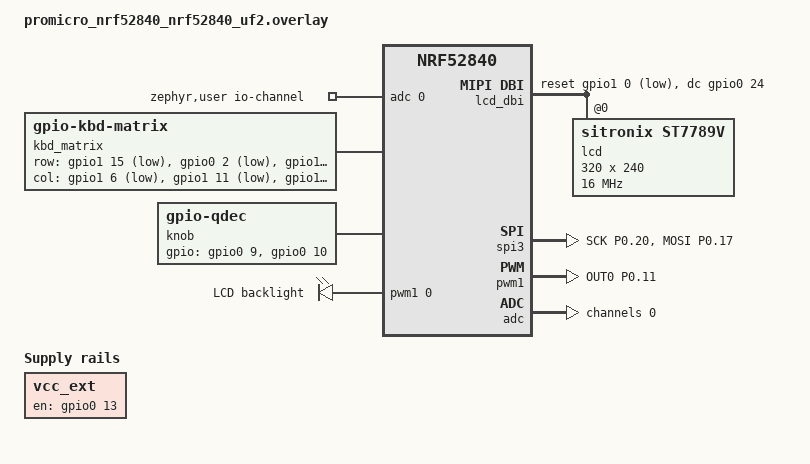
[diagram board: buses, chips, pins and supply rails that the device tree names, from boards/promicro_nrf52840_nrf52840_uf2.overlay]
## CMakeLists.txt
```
# SPDX-License-Identifier: Apache-2.0

cmake_minimum_required(VERSION 3.20.0)
find_package(Zephyr REQUIRED HINTS $ENV{ZEPHYR_BASE})
project(Macropad)

# Same USB helper as the trackball: sample_usbd_init_device() and CONFIG_SAMPLE_USBD_*
include(${ZEPHYR_BASE}/samples/subsys/usb/common/common.cmake)
FILE(GLOB app_sources CONFIGURE_DEPENDS src/*.c)
target_sources(app PRIVATE ${app_sources})
```

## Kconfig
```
# SPDX-License-Identifier: Apache-2.0

# USB device helper options (CONFIG_SAMPLE_USBD_*), shared with the trackball
source "samples/subsys/usb/common/Kconfig.sample_usbd"

menu "Macropad"

config MACROPAD_KEY_ROWS
	int "Rows of keys"
	default 3
	range 1 4
	help
	  Rows of MX keys on the case. Row 0 is the back row, next to the screen.
	  Concept A 3, B 3, C 4.

config MACROPAD_KEY_COLS
	int "Columns of keys"
	default 4
	range 1 4
	help
	  Columns of MX keys. Concept A 3, B 4, C 4. Key n (row * cols + col)
	  arrives as input code INPUT_KEY_F13 + n; the knob push is always
	  key 16 (INPUT_KEY_F13 + 16).

config MACROPAD_UI_INSET
	int "Screen margin in pixels"
	default 0
	help
	  Empty border around the tile grid. Use about 34 on the round GC9A01
	  (concept C) so the corner tiles stay inside the circle.

config MACROPAD_SCREEN_TIMEOUT_S
	int "Screen off after this many seconds without input"
	default 60
	help
	  The backlight is the biggest battery drain. Any key or knob turn wakes
	  the screen. 0 keeps it on.

config MACROPAD_BACKLIGHT_PERCENT
	int "Backlight brightness (percent)"
	default 70
	range 1 100

config MACROPAD_BATTERY_OFFSET_MV
	int "Battery reading correction (mV)"
	default 0
	range -500 500
	help
	  Added to every battery reading. The SuperMini measures the LiPo on
	  its VDDH pin, which can sit a little below the cell itself. Compare
	  the "Battery ... mV" log line with a multimeter across the LiPo
	  (unplugged from USB) and put the difference here.

endmenu

source "Kconfig.zephyr"
```

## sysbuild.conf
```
# Use the devicetree flash partitions instead of NCS's (deprecated) Partition
# Manager. On the Pro Micro this keeps the app at 0x26000, after the SoftDevice
# area the UF2 bootloader expects; on the DK it uses the DK's storage partition.
SB_CONFIG_PARTITION_MANAGER=n
```

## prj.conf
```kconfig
# Macropad firmware: keys + knob -> USB HID and Bluetooth HID, LVGL tiles on an SPI LCD.
# Board-specific settings are in boards/<board>.conf.

# ---- Logging ----
CONFIG_LOG=y
CONFIG_LOG_MODE_DEFERRED=y
CONFIG_USBD_LOG_LEVEL_WRN=y
CONFIG_USBD_HID_LOG_LEVEL_WRN=y
CONFIG_UDC_DRIVER_LOG_LEVEL_WRN=y

# ---- USB HID (device_next stack, same helper as the trackball) ----
CONFIG_USB_DEVICE_STACK_NEXT=y
CONFIG_CDC_ACM_SERIAL_INITIALIZE_AT_BOOT=n
CONFIG_USBD_HID_SUPPORT=y
CONFIG_SAMPLE_USBD_PRODUCT="Macropad"
CONFIG_SAMPLE_USBD_MANUFACTURER="Jase"
# 0x0007 is the trackball, so the PC keeps the two apart
CONFIG_SAMPLE_USBD_PID=0x0008
# Bus-powered from the PC's point of view (the LiPo is our own business)
CONFIG_SAMPLE_USBD_SELF_POWERED=n
# A macro key can wake a sleeping PC
CONFIG_SAMPLE_USBD_REMOTE_WAKEUP=y
CONFIG_UDC_BUF_POOL_SIZE=4096

# ---- Inputs: key matrix / buttons, knob (gpio-qdec), keymap ----
CONFIG_GPIO=y
CONFIG_INPUT=y

# ---- Display + LVGL ----
CONFIG_DISPLAY=y
CONFIG_DISPLAY_LOG_LEVEL_ERR=y
CONFIG_LVGL=y
CONFIG_LV_Z_MEM_POOL_SIZE=24576
# Draw buffer = 16 % of the screen (320 x 240 x 2 bytes x 0.16 = 24.6 KB). LVGL
# renders in strips, so a full-screen buffer (150 KB) is not needed.
CONFIG_LV_Z_VDB_SIZE=16
CONFIG_LV_Z_BITS_PER_PIXEL=16
CONFIG_LV_COLOR_DEPTH_16=y
# The panel wants RGB565 big-endian on the wire; LVGL draws little-endian
CONFIG_LV_COLOR_16_SWAP=y
CONFIG_LV_USE_LABEL=y
CONFIG_LV_FONT_MONTSERRAT_12=y
CONFIG_LV_FONT_MONTSERRAT_16=y
CONFIG_LV_USE_LOG=y
CONFIG_LV_LOG_LEVEL_WARN=y
CONFIG_MAIN_STACK_SIZE=3072

# Backlight brightness through a PWM "LED"
CONFIG_LED=y
CONFIG_PWM=y

# ---- Bluetooth HID (NCS HIDS service), same set-up as the trackball ----
CONFIG_BT=y
CONFIG_BT_PERIPHERAL=y
CONFIG_BT_DEVICE_NAME="Macropad"
# 961 = HID keyboard
CONFIG_BT_DEVICE_APPEARANCE=961
CONFIG_BT_MAX_CONN=1
CONFIG_BT_MAX_PAIRED=4
CONFIG_BT_SMP=y
CONFIG_BT_CONN_CTX=y
CONFIG_BT_HIDS=y
CONFIG_BT_HIDS_MAX_CLIENT_COUNT=1
CONFIG_BT_HIDS_INPUT_REP_MAX=2
CONFIG_BT_HIDS_OUTPUT_REP_MAX=0
CONFIG_BT_HIDS_FEATURE_REP_MAX=0
CONFIG_BT_HIDS_DEFAULT_PERM_RW_ENCRYPT=y
CONFIG_BT_BAS=y
CONFIG_BT_DIS=y
CONFIG_BT_DIS_PNP=y
CONFIG_BT_DIS_PNP_VID_SRC=2
CONFIG_BT_DIS_PNP_VID=0x2FE3
CONFIG_BT_DIS_PNP_PID=0x0008
CONFIG_BT_GATT_UUID16_POOL_SIZE=40
CONFIG_BT_GATT_CHRC_POOL_SIZE=20
CONFIG_BT_ATT_TX_COUNT=5
# Same laptop-collision workaround as the NCS keyboard sample
CONFIG_BT_GATT_AUTO_SEC_REQ=n
CONFIG_BT_AUTO_PHY_UPDATE=n

# ---- Bonds survive a reset (settings in the storage partition) ----
CONFIG_BT_SETTINGS=y
CONFIG_SETTINGS=y
CONFIG_FLASH=y
CONFIG_FLASH_PAGE_LAYOUT=y
CONFIG_FLASH_MAP=y
CONFIG_NVS=y

CONFIG_SYSTEM_WORKQUEUE_STACK_SIZE=2048
```

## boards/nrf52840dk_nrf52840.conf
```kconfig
# Logs on the DK's J-Link serial port (UART0) and RTT, like the trackball
CONFIG_USE_SEGGER_RTT=y
CONFIG_LOG_BACKEND_RTT=y
CONFIG_SEGGER_RTT_BUFFER_SIZE_UP=4096
```

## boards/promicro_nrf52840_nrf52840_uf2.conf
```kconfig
# Powers the LCD: P0.13 switches the VCC pin's regulator (vcc_ext in the overlay)
CONFIG_REGULATOR=y

# Logs on a USB serial port next to the HID keyboard (the board's board_cdc_acm_uart).
# sample_usbd registers it and makes the device composite. Open the COM port at any baud.
CONFIG_USBD_CDC_ACM_CLASS=y
CONFIG_SERIAL=y
CONFIG_CONSOLE=y
CONFIG_UART_CONSOLE=y
CONFIG_UART_LINE_CTRL=y
CONFIG_LOG_BACKEND_UART=y

# Battery voltage through the SAADC (VDDH / 5)
CONFIG_ADC=y

# sys_reboot() for the "restart into the UF2 bootloader" key combo (HID_Engine.c)
CONFIG_REBOOT=y

# 32 kHz clock from the chip's own RC oscillator instead of the board's crystal.
# Some SuperMini batches have a faulty 32.768 kHz crystal, which shows up as
# Bluetooth that never connects or drops out. The RC oscillator is recalibrated
# every few seconds and is accurate enough for Bluetooth (500 ppm), at the cost
# of a few uA. To try the crystal, delete this line.
CONFIG_CLOCK_CONTROL_NRF_K32SRC_RC=y
```

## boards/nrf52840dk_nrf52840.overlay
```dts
/*
 * nRF52840 DK breadboard set-up for the macropad (concept B screen).
 *
 * Wiring (DK Arduino header names):
 *   2.0" Waveshare ST7789 LCD   VCC -> VDD, GND -> GND, DIN -> D11 (P1.13), CLK -> D13 (P1.15),
 *                               CS -> D10 (P1.12), DC -> D9 (P1.11), RST -> D8 (P1.10), BL -> D7 (P1.08)
 *   EC11 knob                   A -> D2 (P1.04), B -> D3 (P1.05), C -> GND,
 *                               push switch -> D4 (P1.06) and GND
 *   Keys                        DK buttons 1-4 act as the first four keys (back row)
 *
 * Key numbering: key n reaches the app as INPUT_KEY_F13 + n (knob push = key 16). The F13
 * name is only an ID inside the firmware; what the PC receives comes from src/Keymap.c.
 */

#include <zephyr/dt-bindings/mipi_dbi/mipi_dbi.h>
#include <zephyr/dt-bindings/input/input-event-codes.h>

/ {
	chosen {
		zephyr,display = &lcd;
	};

	aliases {
		backlight = &lcd_backlight;
	};

	hid_dev_0: hid_dev_0 {
		compatible = "zephyr,hid-device";
		label = "HID0";
		protocol-code = "none";
		in-polling-period-us = <1000>;
		in-report-size = <16>;
	};

	knob: knob {
		compatible = "gpio-qdec";
		gpios = <&gpio1 4 (GPIO_PULL_UP | GPIO_ACTIVE_HIGH)>,
			<&gpio1 5 (GPIO_PULL_UP | GPIO_ACTIVE_HIGH)>;
		/* EC11: 4 quadrature edges per detent, so one event per click */
		steps-per-period = <4>;
		zephyr,axis = <INPUT_REL_WHEEL>;
		sample-time-us = <1000>;
		idle-timeout-ms = <200>;
	};

	knob_keys {
		compatible = "gpio-keys";

		knob_push: knob_push {
			gpios = <&gpio1 6 (GPIO_PULL_UP | GPIO_ACTIVE_LOW)>;
			label = "Knob push";
			/* the knob push is key 16 on every concept */
			zephyr,code = <(INPUT_KEY_F13 + 16)>;
		};
	};

	backlight_pwm {
		compatible = "pwm-leds";

		lcd_backlight: lcd_backlight {
			pwms = <&pwm1 0 PWM_MSEC(1) PWM_POLARITY_NORMAL>;
			label = "LCD backlight";
		};
	};

	lcd_dbi: lcd_mipi_dbi {
		compatible = "zephyr,mipi-dbi-spi";
		spi-dev = <&arduino_spi>;
		dc-gpios = <&gpio1 11 GPIO_ACTIVE_HIGH>;
		reset-gpios = <&gpio1 10 GPIO_ACTIVE_LOW>;
		write-only;
		#address-cells = <1>;
		#size-cells = <0>;

		/* Waveshare 2inch LCD Module (ST7789V, 240 x 320), used landscape.
		 * Init values from Waveshare's demo code. If the picture is mirrored or
		 * upside down, change mdac: 0x70 / 0xa0 / 0x60 / 0xc0 are the four
		 * landscape options. */
		lcd: st7789v@0 {
			compatible = "sitronix,st7789v";
			reg = <0>;
			/* Jumper wires: keep the clock modest */
			mipi-max-frequency = <8000000>;
			mipi-mode = "MIPI_DBI_MODE_SPI_4WIRE";
			width = <320>;
			height = <240>;
			x-offset = <0>;
			y-offset = <0>;
			vcom = <0x1f>;
			gctrl = <0x35>;
			vrhs = <0x12>;
			vdvs = <0x20>;
			mdac = <0x70>;
			gamma = <0x01>;
			colmod = <0x05>;
			lcm = <0x2c>;
			porch-param = [0c 0c 00 33 33];
			cmd2en-param = [5a 69 02 01];
			pwctrl1-param = [a4 a1];
			pvgam-param = [d0 08 11 08 0c 15 39 33 50 36 13 14 29 2d];
			nvgam-param = [d0 08 10 08 06 06 39 44 51 0b 16 14 2f 31];
			ram-param = [00 f0];
			rgb-param = [cd 08 14];
		};
	};
};

&button0 {
	zephyr,code = <INPUT_KEY_F13>;
};

&button1 {
	zephyr,code = <(INPUT_KEY_F13 + 1)>;
};

&button2 {
	zephyr,code = <(INPUT_KEY_F13 + 2)>;
};

&button3 {
	zephyr,code = <(INPUT_KEY_F13 + 3)>;
};

&pwm1 {
	status = "okay";
	pinctrl-0 = <&lcd_bl_pwm_default>;
	pinctrl-1 = <&lcd_bl_pwm_sleep>;
	pinctrl-names = "default", "sleep";
};

&pinctrl {
	lcd_bl_pwm_default: lcd_bl_pwm_default {
		group1 {
			psels = <NRF_PSEL(PWM_OUT0, 1, 8)>;
		};
	};

	lcd_bl_pwm_sleep: lcd_bl_pwm_sleep {
		group1 {
			psels = <NRF_PSEL(PWM_OUT0, 1, 8)>;
			low-power-enable;
		};
	};
};
```

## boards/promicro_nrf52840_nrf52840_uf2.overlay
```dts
/*
 * Macropad concept B on a Pro Micro-size nRF52840 (nice!nano v2 / SuperMini clone).
 * Board: promicro_nrf52840/nrf52840/uf2 (Adafruit UF2 bootloader, app at 0x26000).
 *
 * Pin map (nRF pin, Pro Micro label, footprint pin), the same as pcb/board/design_b.py.
 * The SPI clock and data use full-speed pins; everything slow (matrix, knob) uses the
 * pins Nordic marks "low frequency I/O only". Footprint pins 5-10 carry the LCD's six
 * signals in the order of the Waveshare cable (DIN, CLK, CS, DC, RST, BL), so on the
 * PCB they run straight across to J2 pins 3-8.
 *
 *   LCD MOSI  P0.17  D2   5     ROW0  P1.15  D18  17     COL0  P1.06  D9   12
 *   LCD SCK   P0.20  D3   6     ROW1  P0.02  D19  18     COL1  P1.11  D14  15
 *   LCD CS    P0.22  D4   7     ROW2  P1.04  D8   11     COL2  P1.13  D15  16
 *   LCD DC    P0.24  D5   8     (ROW3 P0.08  D0   2, concept C only)
 *   LCD RST   P1.00  D6   9                               COL3  P0.29  D20  19
 *   LCD BL    P0.11  D7   10    KNOB A P0.09 D10  13      COL4  P0.31  D21  20
 *   (debug TX P0.06  D1   1)    KNOB B P0.10 D16  14
 *
 * The knob sits on the two NFC pins: both rest high (pull-ups, open contacts at a
 * detent), so the small leak NFC pins have when held at different levels never flows.
 *
 * Matrix: rows are inputs with pull-ups, columns are driven low one at a time. Each
 * switch has a 1N4148 from the row side (anode) to the column (cathode).
 */

#include <zephyr/dt-bindings/mipi_dbi/mipi_dbi.h>
#include <zephyr/dt-bindings/input/input-event-codes.h>
#include <zephyr/dt-bindings/input/keymap.h>
#include <zephyr/dt-bindings/adc/adc.h>
#include <zephyr/dt-bindings/adc/nrf-saadc.h>

/ {
	chosen {
		zephyr,display = &lcd;
	};

	aliases {
		backlight = &lcd_backlight;
	};

	/* Battery: the LiPo feeds VDDH, measured as VDDH / 5 (src/Battery.c) */
	zephyr,user {
		io-channels = <&adc 0>;
	};

	/* SuperMini / nice!nano: P0.13 enables the regulator behind the VCC pin, which
	 * powers the LCD module. It is off until firmware drives P0.13 high. */
	vcc_ext: vcc_ext {
		compatible = "regulator-fixed";
		regulator-name = "vcc_ext";
		enable-gpios = <&gpio0 13 GPIO_ACTIVE_HIGH>;
		startup-delay-us = <10000>;
		regulator-boot-on;
	};

	hid_dev_0: hid_dev_0 {
		compatible = "zephyr,hid-device";
		label = "HID0";
		protocol-code = "none";
		in-polling-period-us = <1000>;
		in-report-size = <16>;
	};

	kbd_matrix: kbd_matrix {
		compatible = "gpio-kbd-matrix";
		row-gpios = <&gpio1 15 (GPIO_PULL_UP | GPIO_ACTIVE_LOW)>,
			    <&gpio0 2 (GPIO_PULL_UP | GPIO_ACTIVE_LOW)>,
			    <&gpio1 4 (GPIO_PULL_UP | GPIO_ACTIVE_LOW)>;
		col-gpios = <&gpio1 6 GPIO_ACTIVE_LOW>,
			    <&gpio1 11 GPIO_ACTIVE_LOW>,
			    <&gpio1 13 GPIO_ACTIVE_LOW>,
			    <&gpio0 29 GPIO_ACTIVE_LOW>,
			    <&gpio0 31 GPIO_ACTIVE_LOW>;
		/* Every switch has its own diode, so any combination of keys reads correctly */
		no-ghostkey-check;

		kbd_keymap: keymap {
			compatible = "input-keymap";
			row-size = <3>;
			col-size = <5>;
			/* key n = INPUT_KEY_F13 + n, n = row * 4 + col; the knob push is
			 * wired into row 0, column 4 and is always key 16 */
			keymap = <MATRIX_KEY(0, 0, INPUT_KEY_F13)
				  MATRIX_KEY(0, 1, (INPUT_KEY_F13 + 1))
				  MATRIX_KEY(0, 2, (INPUT_KEY_F13 + 2))
				  MATRIX_KEY(0, 3, (INPUT_KEY_F13 + 3))
				  MATRIX_KEY(1, 0, (INPUT_KEY_F13 + 4))
				  MATRIX_KEY(1, 1, (INPUT_KEY_F13 + 5))
				  MATRIX_KEY(1, 2, (INPUT_KEY_F13 + 6))
				  MATRIX_KEY(1, 3, (INPUT_KEY_F13 + 7))
				  MATRIX_KEY(2, 0, (INPUT_KEY_F13 + 8))
				  MATRIX_KEY(2, 1, (INPUT_KEY_F13 + 9))
				  MATRIX_KEY(2, 2, (INPUT_KEY_F13 + 10))
				  MATRIX_KEY(2, 3, (INPUT_KEY_F13 + 11))
				  MATRIX_KEY(0, 4, (INPUT_KEY_F13 + 16))>;
		};
	};

	knob: knob {
		compatible = "gpio-qdec";
		gpios = <&gpio0 9 (GPIO_PULL_UP | GPIO_ACTIVE_HIGH)>,
			<&gpio0 10 (GPIO_PULL_UP | GPIO_ACTIVE_HIGH)>;
		steps-per-period = <4>;
		zephyr,axis = <INPUT_REL_WHEEL>;
		sample-time-us = <1000>;
		idle-timeout-ms = <200>;
	};

	backlight_pwm {
		compatible = "pwm-leds";

		lcd_backlight: lcd_backlight {
			pwms = <&pwm1 0 PWM_MSEC(1) PWM_POLARITY_NORMAL>;
			label = "LCD backlight";
		};
	};

	lcd_dbi: lcd_mipi_dbi {
		compatible = "zephyr,mipi-dbi-spi";
		spi-dev = <&spi3>;
		dc-gpios = <&gpio0 24 GPIO_ACTIVE_HIGH>;
		reset-gpios = <&gpio1 0 GPIO_ACTIVE_LOW>;
		write-only;
		#address-cells = <1>;
		#size-cells = <0>;

		/* Waveshare 2inch LCD Module (ST7789V, 240 x 320), used landscape.
		 * See the DK overlay for the mdac note. */
		lcd: st7789v@0 {
			compatible = "sitronix,st7789v";
			reg = <0>;
			mipi-max-frequency = <16000000>;
			mipi-mode = "MIPI_DBI_MODE_SPI_4WIRE";
			width = <320>;
			height = <240>;
			x-offset = <0>;
			y-offset = <0>;
			vcom = <0x1f>;
			gctrl = <0x35>;
			vrhs = <0x12>;
			vdvs = <0x20>;
			mdac = <0x70>;
			gamma = <0x01>;
			colmod = <0x05>;
			lcm = <0x2c>;
			porch-param = [0c 0c 00 33 33];
			cmd2en-param = [5a 69 02 01];
			pwctrl1-param = [a4 a1];
			pvgam-param = [d0 08 11 08 0c 15 39 33 50 36 13 14 29 2d];
			nvgam-param = [d0 08 10 08 06 06 39 44 51 0b 16 14 2f 31];
			ram-param = [00 f0];
			rgb-param = [cd 08 14];
		};
	};
};

/* SPIM3 is the only nRF52840 SPI master that goes above 8 MHz */
&spi3 {
	compatible = "nordic,nrf-spim";
	status = "okay";
	cs-gpios = <&gpio0 22 GPIO_ACTIVE_LOW>;
	pinctrl-0 = <&lcd_spi_default>;
	pinctrl-1 = <&lcd_spi_sleep>;
	pinctrl-names = "default", "sleep";
};

&pwm1 {
	status = "okay";
	pinctrl-0 = <&lcd_bl_pwm_default>;
	pinctrl-1 = <&lcd_bl_pwm_sleep>;
	pinctrl-names = "default", "sleep";
};

&adc {
	#address-cells = <1>;
	#size-cells = <0>;

	channel@0 {
		reg = <0>;
		zephyr,gain = "ADC_GAIN_1_2";
		zephyr,reference = "ADC_REF_INTERNAL";
		zephyr,acquisition-time = <ADC_ACQ_TIME_DEFAULT>;
		zephyr,input-positive = <NRF_SAADC_VDDHDIV5>;
		zephyr,resolution = <12>;
	};
};

/* The board file enables these on pins we use for the matrix and the knob */
&i2c0 {
	status = "disabled";
};

&i2c1 {
	status = "disabled";
};

&spi2 {
	status = "disabled";
};

/* Logs go to the USB serial port (board_cdc_acm_uart) instead */
&uart0 {
	status = "disabled";
};

&pinctrl {
	lcd_spi_default: lcd_spi_default {
		group1 {
			psels = <NRF_PSEL(SPIM_SCK, 0, 20)>,
				<NRF_PSEL(SPIM_MOSI, 0, 17)>;
			nordic,drive-mode = <NRF_DRIVE_H0H1>;
		};
	};

	lcd_spi_sleep: lcd_spi_sleep {
		group1 {
			psels = <NRF_PSEL(SPIM_SCK, 0, 20)>,
				<NRF_PSEL(SPIM_MOSI, 0, 17)>;
			low-power-enable;
		};
	};

	lcd_bl_pwm_default: lcd_bl_pwm_default {
		group1 {
			psels = <NRF_PSEL(PWM_OUT0, 0, 11)>;
		};
	};

	lcd_bl_pwm_sleep: lcd_bl_pwm_sleep {
		group1 {
			psels = <NRF_PSEL(PWM_OUT0, 0, 11)>;
			low-power-enable;
		};
	};
};
```

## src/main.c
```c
#include <zephyr/kernel.h>
#include <zephyr/logging/log.h>

#include "BT.h"
#include "Battery.h"
#include "Display_UI.h"
#include "HID_Engine.h"
#include "Keymap.h"
#include "USB_Link.h"

LOG_MODULE_REGISTER(main, LOG_LEVEL_INF);

int main(void)
{
	int ret;

	LOG_INF("Macropad: %d x %d keys + knob", KEY_ROWS, KEY_COLS);

	/* Screen first, so link and battery messages from the others land on it */
	ret = display_ui_init();
	if (ret != 0) {
		LOG_WRN("No screen, carrying on without it (%d)", ret);
	}

	/* Either link on its own is enough to be useful, so neither is fatal */
	ret = bt_init();
	if (ret != 0) {
		LOG_ERR("Bluetooth failed to start (%d), USB only", ret);
	}

	ret = usb_link_init();
	if (ret != 0) {
		LOG_ERR("USB failed to start (%d), Bluetooth only", ret);
	}

	ret = battery_init();
	if (ret != 0 && ret != -ENOTSUP) {
		LOG_WRN("Battery reading unavailable (%d)", ret);
	}

	hid_engine_run();   /* never returns */
	return 0;
}
```

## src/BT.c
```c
/*
 * Copyright (c) 2018 Nordic Semiconductor ASA
 *
 * SPDX-License-Identifier: LicenseRef-Nordic-5-Clause
 */

/*
 * Bluetooth LE HID keyboard + consumer control, built on the NCS HIDS service.
 * Based on the NCS peripheral_hids_keyboard sample, cut down to one host at a
 * time and Just Works pairing.
 */

#include "BT.h"

#include <errno.h>

#include <zephyr/bluetooth/bluetooth.h>
#include <zephyr/bluetooth/conn.h>
#include <zephyr/bluetooth/gatt.h>
#include <zephyr/bluetooth/hci.h>
#include <zephyr/bluetooth/services/bas.h>
#include <zephyr/bluetooth/uuid.h>
#include <zephyr/kernel.h>
#include <zephyr/logging/log.h>
#include <zephyr/settings/settings.h>

#include <bluetooth/services/hids.h>

#include "HID_Engine.h"

LOG_MODULE_REGISTER(bt_hid, LOG_LEVEL_INF);

/* CONSTANTS */
#define DEVICE_NAME     CONFIG_BT_DEVICE_NAME
#define DEVICE_NAME_LEN (sizeof(DEVICE_NAME) - 1)

#define BASE_USB_HID_SPEC_VERSION 0x0101

/* Advertise fast for a short while (quick to find when pairing), then slowly
 * to save battery while nobody is connecting. */
#define ADV_FAST_TIME K_SECONDS(30)

/* Per-connection storage for every report we declare: keyboard + consumer */
BT_HIDS_DEF(hids_obj, KEYBOARD_REPORT_LEN, CONSUMER_REPORT_LEN);

static const struct bt_data ad[] = {
	BT_DATA_BYTES(BT_DATA_GAP_APPEARANCE,
		      (CONFIG_BT_DEVICE_APPEARANCE >> 0) & 0xff,
		      (CONFIG_BT_DEVICE_APPEARANCE >> 8) & 0xff),
	BT_DATA_BYTES(BT_DATA_FLAGS, (BT_LE_AD_GENERAL | BT_LE_AD_NO_BREDR)),
	BT_DATA_BYTES(BT_DATA_UUID16_ALL, BT_UUID_16_ENCODE(BT_UUID_HIDS_VAL),
		      BT_UUID_16_ENCODE(BT_UUID_BAS_VAL)),
};

static const struct bt_data sd[] = {
	BT_DATA(BT_DATA_NAME_COMPLETE, DEVICE_NAME, DEVICE_NAME_LEN),
};

/* TYPES */
static struct bt_conn *host_conn;
static atomic_t advertising;
static bool adv_slow;

static void adv_work_handler(struct k_work *work);
static K_WORK_DEFINE(adv_work, adv_work_handler);
static void adv_slow_handler(struct k_work *work);
static K_WORK_DELAYABLE_DEFINE(adv_slow_work, adv_slow_handler);

static void advertising_start(bool slow)
{
	int err;
	const struct bt_le_adv_param *param = slow ?
		BT_LE_ADV_PARAM(BT_LE_ADV_OPT_CONN, BT_GAP_ADV_SLOW_INT_MIN,
				BT_GAP_ADV_SLOW_INT_MAX, NULL) :
		BT_LE_ADV_PARAM(BT_LE_ADV_OPT_CONN, BT_GAP_ADV_FAST_INT_MIN_2,
				BT_GAP_ADV_FAST_INT_MAX_2, NULL);

	err = bt_le_adv_start(param, ad, ARRAY_SIZE(ad), sd, ARRAY_SIZE(sd));
	if (err == -EALREADY) {
		return;
	}

	if (err != 0) {
		LOG_ERR("Advertising failed to start (err %d)", err);
		return;
	}

	atomic_set(&advertising, 1);
	adv_slow = slow;
	LOG_INF("Advertising (%s) as \"%s\"", slow ? "slow" : "fast", DEVICE_NAME);
	if (!slow) {
		k_work_reschedule(&adv_slow_work, ADV_FAST_TIME);
	}
	hid_engine_link_changed();
}

static void adv_work_handler(struct k_work *work)
{
	ARG_UNUSED(work);
	advertising_start(false);
}

static void adv_slow_handler(struct k_work *work)
{
	ARG_UNUSED(work);

	if (!atomic_get(&advertising) || adv_slow) {
		return;
	}

	(void)bt_le_adv_stop();
	advertising_start(true);
}

static void connected(struct bt_conn *conn, uint8_t err)
{
	char addr[BT_ADDR_LE_STR_LEN];

	bt_addr_le_to_str(bt_conn_get_dst(conn), addr, sizeof(addr));

	if (err != 0) {
		LOG_WRN("Failed to connect to %s, 0x%02x %s", addr, err, bt_hci_err_to_str(err));
		return;
	}

	LOG_INF("Connected %s", addr);

	/* Connectable advertising stops by itself once a host connects */
	atomic_set(&advertising, 0);
	k_work_cancel_delayable(&adv_slow_work);

	if (bt_hids_connected(&hids_obj, conn) != 0) {
		LOG_ERR("Failed to notify HIDS about the connection");
	}

	host_conn = bt_conn_ref(conn);
	hid_engine_link_changed();
}

static void disconnected(struct bt_conn *conn, uint8_t reason)
{
	LOG_INF("Disconnected, reason 0x%02x %s", reason, bt_hci_err_to_str(reason));

	if (bt_hids_disconnected(&hids_obj, conn) != 0) {
		LOG_ERR("Failed to notify HIDS about the disconnection");
	}

	if (host_conn == conn) {
		bt_conn_unref(host_conn);
		host_conn = NULL;
	}

	hid_engine_link_changed();
}

/* The connection object is free again: only now can advertising restart */
static void recycled(void)
{
	if (host_conn == NULL) {
		k_work_submit(&adv_work);
	}
}

static void security_changed(struct bt_conn *conn, bt_security_t level, enum bt_security_err err)
{
	ARG_UNUSED(conn);

	if (err != 0) {
		LOG_WRN("Security failed: level %u err %d %s", level, err, bt_security_err_to_str(err));
		return;
	}

	LOG_INF("Security level %u", level);
}

BT_CONN_CB_DEFINE(conn_callbacks) = {
	.connected = connected,
	.disconnected = disconnected,
	.recycled = recycled,
	.security_changed = security_changed,
};

static int hids_setup(void)
{
	struct bt_hids_init_param init = {0};
	struct bt_hids_inp_rep *rep;

	init.rep_map.data = hid_report_desc;
	init.rep_map.size = hid_report_desc_len;
	init.info.bcd_hid = BASE_USB_HID_SPEC_VERSION;
	init.info.b_country_code = 0x00;
	init.info.flags = BT_HIDS_REMOTE_WAKE | BT_HIDS_NORMALLY_CONNECTABLE;

	/* Input reports in enum hid_report order, so the enum is the report index */
	rep = &init.inp_rep_group_init.reports[HID_REPORT_KEYBOARD];
	rep->size = KEYBOARD_REPORT_LEN;
	rep->id = REPORT_ID_KEYBOARD;
	init.inp_rep_group_init.cnt++;

	rep = &init.inp_rep_group_init.reports[HID_REPORT_CONSUMER];
	rep->size = CONSUMER_REPORT_LEN;
	rep->id = REPORT_ID_CONSUMER;
	init.inp_rep_group_init.cnt++;

	return bt_hids_init(&hids_obj, &init);
}

int bt_init(void)
{
	int err;

	err = hids_setup();
	if (err != 0) {
		LOG_ERR("HIDS init failed (err %d)", err);
		return err;
	}

	err = bt_enable(NULL);
	if (err != 0) {
		LOG_ERR("Bluetooth init failed (err %d)", err);
		return err;
	}

	/* Bonds (pairing keys) live in settings, so a paired PC reconnects after a reset */
	if (IS_ENABLED(CONFIG_SETTINGS)) {
		settings_load();
	}

	advertising_start(false);
	return 0;
}

bool bt_hid_is_connected(void)
{
	return host_conn != NULL;
}

bool bt_hid_is_advertising(void)
{
	return atomic_get(&advertising) != 0;
}

int bt_hid_send(enum hid_report report, const uint8_t *payload)
{
	struct bt_conn *conn = host_conn;

	if (conn == NULL) {
		return -ENOTCONN;
	}

	return bt_hids_inp_rep_send(&hids_obj, conn, (uint8_t)report, payload,
				    hid_report_len(report), NULL);
}

void bt_set_battery_level(uint8_t percent)
{
	(void)bt_bas_set_battery_level(percent);
}
```

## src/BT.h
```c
#ifndef BT_H
#define BT_H

#include <stdbool.h>
#include <stdint.h>

#include "HID_Desc.h"

int bt_init(void);

/* True while a host is connected */
bool bt_hid_is_connected(void);

/* True while advertising (waiting for a host to connect or pair) */
bool bt_hid_is_advertising(void);

/* Notify the connected host(s) of an input report (payload without the report
 * ID; Bluetooth carries the ID in the characteristic). Call from one thread only. */
int bt_hid_send(enum hid_report report, const uint8_t *payload);

/* Battery level for the Battery Service, 0-100 */
void bt_set_battery_level(uint8_t percent);

#endif /* BT_H */
```

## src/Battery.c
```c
/*
 * Battery level on the Pro Micro boards. On the SuperMini (and nice!nano) the LiPo
 * feeds the nRF52840's VDDH pin, so the SAADC can measure it with no divider: the
 * ADC input VDDHDIV5 is VDDH / 5. Devicetree (zephyr,user io-channels) says which
 * ADC channel to use; boards without it get no battery reporting.
 *
 * While USB is plugged in, the SuperMini feeds VDDH from USB (about 5 V) instead,
 * so the battery cannot be measured then. A reading above any LiPo voltage means
 * "on USB, charging"; Windows keeps the last level until USB is unplugged.
 */

#include "Battery.h"

#include <errno.h>

#include <zephyr/devicetree.h>
#include <zephyr/drivers/adc.h>
#include <zephyr/kernel.h>
#include <zephyr/logging/log.h>
#include <zephyr/sys/util.h>

#include "BT.h"
#include "Display_UI.h"

LOG_MODULE_REGISTER(battery, LOG_LEVEL_INF);

#if DT_NODE_HAS_PROP(DT_PATH(zephyr_user), io_channels)

/* CONSTANTS */
#define VDDH_DIVIDER   5
#define READ_PERIOD    K_SECONDS(60)
#define ON_USB_MV      4400 /* a full LiPo is 4200 mV */

static const struct adc_dt_spec vbat = ADC_DT_SPEC_GET(DT_PATH(zephyr_user));

/* TYPES */
struct lipo_point {
	uint16_t mv;
	uint8_t percent;
};

/* Rough resting curve for a single LiPo cell, highest first */
static const struct lipo_point lipo_curve[] = {
	{ 4200, 100 }, { 4100, 90 }, { 4000, 78 }, { 3900, 62 }, { 3800, 46 },
	{ 3750, 35 },  { 3700, 22 }, { 3650, 12 }, { 3600, 6 },  { 3500, 2 },
	{ 3300, 0 },
};

static uint8_t lipo_percent(int mv)
{
	if (mv >= lipo_curve[0].mv) {
		return 100;
	}

	for (size_t i = 1; i < ARRAY_SIZE(lipo_curve); i++) {
		const struct lipo_point *hi = &lipo_curve[i - 1];
		const struct lipo_point *lo = &lipo_curve[i];

		if (mv >= lo->mv) {
			/* straight line between the two neighbouring points */
			return lo->percent + (mv - lo->mv) * (hi->percent - lo->percent) /
					     (hi->mv - lo->mv);
		}
	}

	return 0;
}

static int battery_read_mv(void)
{
	int16_t raw;
	int32_t mv;
	struct adc_sequence seq = {
		.buffer = &raw,
		.buffer_size = sizeof(raw),
	};
	int ret;

	(void)adc_sequence_init_dt(&vbat, &seq);
	ret = adc_read_dt(&vbat, &seq);
	if (ret != 0) {
		return ret;
	}

	mv = raw;
	ret = adc_raw_to_millivolts_dt(&vbat, &mv);
	if (ret != 0) {
		return ret;
	}

	return mv * VDDH_DIVIDER + CONFIG_MACROPAD_BATTERY_OFFSET_MV;
}

static void battery_work_handler(struct k_work *work);
static K_WORK_DELAYABLE_DEFINE(battery_work, battery_work_handler);

static void battery_work_handler(struct k_work *work)
{
	int mv = battery_read_mv();

	ARG_UNUSED(work);

	if (mv > ON_USB_MV) {
		LOG_INF("On USB power (VDDH %d mV)", mv);
		display_ui_battery(DISPLAY_UI_ON_USB);
	} else if (mv > 0) {
		uint8_t percent = lipo_percent(mv);

		LOG_INF("Battery %d mV, about %u %%", mv, percent);
		bt_set_battery_level(percent);
		display_ui_battery(percent);
	} else {
		LOG_WRN("Battery read failed (%d)", mv);
	}

	k_work_schedule(&battery_work, READ_PERIOD);
}

int battery_init(void)
{
	int ret;

	if (!adc_is_ready_dt(&vbat)) {
		LOG_ERR("ADC is not ready");
		return -ENODEV;
	}

	ret = adc_channel_setup_dt(&vbat);
	if (ret != 0) {
		LOG_ERR("ADC channel setup failed (%d)", ret);
		return ret;
	}

	k_work_schedule(&battery_work, K_SECONDS(2));
	return 0;
}

#else /* no battery channel in devicetree */

int battery_init(void)
{
	return -ENOTSUP;
}

#endif
```

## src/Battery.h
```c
#ifndef BATTERY_H
#define BATTERY_H

/* Reads the LiPo voltage once a minute and reports it to the Battery Service and
 * the screen. Returns -ENOTSUP on boards without a battery channel (the DK). */
int battery_init(void);

#endif /* BATTERY_H */
```

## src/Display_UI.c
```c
/*
 * The screen: a grid of tiles that mirrors the keys under it, plus a status bar.
 *
 * LVGL is not thread-safe, so exactly one thread (ui_thread) calls it. Everyone
 * else posts a small message to ui_q and the UI thread applies it between frames.
 */

#include "Display_UI.h"

#include <errno.h>

#include <lvgl.h>
#include <zephyr/device.h>
#include <zephyr/devicetree.h>
#include <zephyr/drivers/display.h>
#include <zephyr/drivers/led.h>
#include <zephyr/kernel.h>
#include <zephyr/logging/log.h>
#include <zephyr/sys/util.h>

#include "Keymap.h"

LOG_MODULE_REGISTER(display_ui, LOG_LEVEL_INF);

/* CONSTANTS */
#define UI_STACK_SIZE   4096
#define UI_PRIORITY     7        /* below the HID engine (main, priority 0) */
#define STATUS_H        24       /* status bar height, px */
#define GAP             3        /* space between tiles, px */
#define INFO_SHOW_MS    1500     /* how long "Vol +" stays in the status bar */
#define SMALL_TILE_W    60       /* below this, tiles show the icon only */

#define COL_BG          0x101418
#define COL_TILE        0x262c33
#define COL_TILE_DOWN   0x0b6e74 /* the knob's teal from the case renders */
#define COL_TEXT        0xf4f3ef
#define COL_DIM         0x9aa3ad

static const struct device *const display_dev = DEVICE_DT_GET(DT_CHOSEN(zephyr_display));

#if DT_NODE_EXISTS(DT_ALIAS(backlight))
static const struct led_dt_spec backlight = LED_DT_SPEC_GET(DT_ALIAS(backlight));
#define HAS_BACKLIGHT 1
#else
#define HAS_BACKLIGHT 0
#endif

/* TYPES */
enum ui_evt_type {
	UI_EVT_KEY,
	UI_EVT_KNOB,
	UI_EVT_LINK,
	UI_EVT_BATTERY,
};

struct ui_evt {
	uint8_t type;
	uint8_t key;
	int8_t value;
};

#define LINK_USB BIT(0)
#define LINK_BLE BIT(1)
#define LINK_ADV BIT(2)

K_MSGQ_DEFINE(ui_q, sizeof(struct ui_evt), 16, 4);
K_THREAD_STACK_DEFINE(ui_stack, UI_STACK_SIZE);
static struct k_thread ui_thread_data;

static lv_obj_t *tiles[KEY_COUNT];
static lv_obj_t *link_label;
static lv_obj_t *info_label;
static lv_obj_t *battery_label;
static bool screen_on;
static int64_t last_input_ms;
static int64_t info_until_ms;

static void ui_post(uint8_t type, uint8_t key, int8_t value)
{
	struct ui_evt evt = { .type = type, .key = key, .value = value };

	/* Dropping a UI update is harmless; blocking the HID engine is not */
	(void)k_msgq_put(&ui_q, &evt, K_NO_WAIT);
}

void display_ui_key(uint8_t key, bool pressed)
{
	ui_post(UI_EVT_KEY, key, pressed ? 1 : 0);
}

void display_ui_knob(int dir)
{
	ui_post(UI_EVT_KNOB, 0, (int8_t)dir);
}

void display_ui_link(bool usb, bool ble, bool advertising)
{
	ui_post(UI_EVT_LINK, 0, (int8_t)((usb ? LINK_USB : 0) | (ble ? LINK_BLE : 0) |
					 (advertising ? LINK_ADV : 0)));
}

void display_ui_battery(int percent)
{
	ui_post(UI_EVT_BATTERY, 0, (int8_t)CLAMP(percent, DISPLAY_UI_ON_USB, 100));
}

static void backlight_set(bool on)
{
#if HAS_BACKLIGHT
	(void)led_set_brightness_dt(&backlight, on ? CONFIG_MACROPAD_BACKLIGHT_PERCENT : 0);
#else
	ARG_UNUSED(on);
#endif
}

static void screen_set(bool on)
{
	if (on == screen_on) {
		return;
	}

	screen_on = on;
	if (on) {
		(void)display_blanking_off(display_dev);
		backlight_set(true);
	} else {
		/* Backlight first, so the panel going dark is never visible */
		backlight_set(false);
		(void)display_blanking_on(display_dev);
	}
}

static lv_obj_t *make_label(lv_obj_t *parent, const lv_font_t *font, uint32_t colour)
{
	lv_obj_t *label = lv_label_create(parent);

	lv_obj_set_style_text_font(label, font, 0);
	lv_obj_set_style_text_color(label, lv_color_hex(colour), 0);
	lv_label_set_text(label, "");
	return label;
}

static void build_ui(void)
{
	lv_obj_t *scr = lv_screen_active();
	int32_t w = lv_display_get_horizontal_resolution(NULL);
	int32_t h = lv_display_get_vertical_resolution(NULL);
	int32_t inset = CONFIG_MACROPAD_UI_INSET;
	int32_t grid_x = inset;
	int32_t grid_y = inset + STATUS_H;
	int32_t grid_w = w - 2 * inset;
	int32_t grid_h = h - 2 * inset - STATUS_H;
	int32_t tile_w = (grid_w - GAP * (KEY_COLS + 1)) / KEY_COLS;
	int32_t tile_h = (grid_h - GAP * (KEY_ROWS + 1)) / KEY_ROWS;
	bool small = tile_w < SMALL_TILE_W;

	LOG_INF("Screen %d x %d, tiles %d x %d px", w, h, tile_w, tile_h);

	lv_obj_set_style_bg_color(scr, lv_color_hex(COL_BG), 0);
	lv_obj_set_style_bg_opa(scr, LV_OPA_COVER, 0);
	lv_obj_remove_flag(scr, LV_OBJ_FLAG_SCROLLABLE);

	/* Status bar: link on the left, knob feedback in the middle, battery on the right */
	link_label = make_label(scr, &lv_font_montserrat_12, COL_TEXT);
	lv_obj_align(link_label, LV_ALIGN_TOP_LEFT, inset + 6, inset + 5);
	info_label = make_label(scr, &lv_font_montserrat_12, COL_DIM);
	lv_obj_align(info_label, LV_ALIGN_TOP_MID, 0, inset + 5);
	battery_label = make_label(scr, &lv_font_montserrat_12, COL_DIM);
	lv_obj_align(battery_label, LV_ALIGN_TOP_RIGHT, -(inset + 6), inset + 5);

	/* One tile per key, laid out like the keys: row 0 (back row) at the top */
	for (uint8_t k = 0; k < KEY_COUNT; k++) {
		const struct pad_action *a = keymap_key(k);
		int32_t col = k % KEY_COLS;
		int32_t row = k / KEY_COLS;
		lv_obj_t *tile = lv_obj_create(scr);
		lv_obj_t *icon;

		lv_obj_set_size(tile, tile_w, tile_h);
		lv_obj_set_pos(tile, grid_x + GAP + col * (tile_w + GAP),
			       grid_y + GAP + row * (tile_h + GAP));
		lv_obj_set_style_bg_color(tile, lv_color_hex(COL_TILE), 0);
		lv_obj_set_style_border_width(tile, 0, 0);
		lv_obj_set_style_radius(tile, 6, 0);
		lv_obj_set_style_pad_all(tile, 2, 0);
		lv_obj_remove_flag(tile, LV_OBJ_FLAG_SCROLLABLE);

		icon = make_label(tile, &lv_font_montserrat_16, COL_TEXT);
		lv_label_set_text(icon, a->icon);

		if (small) {
			lv_obj_center(icon);
		} else {
			lv_obj_t *name = make_label(tile, &lv_font_montserrat_12, COL_DIM);

			lv_label_set_text(name, a->label);
			lv_obj_align(icon, LV_ALIGN_CENTER, 0, -9);
			lv_obj_align(name, LV_ALIGN_CENTER, 0, 12);
		}

		tiles[k] = tile;
	}
}

static void show_link(uint8_t link)
{
	if (link & LINK_USB) {
		lv_label_set_text(link_label, LV_SYMBOL_USB " USB");
	} else if (link & LINK_BLE) {
		lv_label_set_text(link_label, LV_SYMBOL_BLUETOOTH " Bluetooth");
	} else if (link & LINK_ADV) {
		lv_label_set_text(link_label, LV_SYMBOL_BLUETOOTH " Waiting for PC");
	} else {
		lv_label_set_text(link_label, "No connection");
	}
}

static void show_battery(int8_t percent)
{
	if (percent == DISPLAY_UI_ON_USB) {
		lv_label_set_text(battery_label, "USB " LV_SYMBOL_CHARGE);
		return;
	}

	const char *sym = percent > 80 ? LV_SYMBOL_BATTERY_FULL :
			  percent > 55 ? LV_SYMBOL_BATTERY_3 :
			  percent > 30 ? LV_SYMBOL_BATTERY_2 :
			  percent > 10 ? LV_SYMBOL_BATTERY_1 : LV_SYMBOL_BATTERY_EMPTY;

	lv_label_set_text_fmt(battery_label, "%d%% %s", percent, sym);
}

static void handle_evt(const struct ui_evt *evt)
{
	switch (evt->type) {
	case UI_EVT_KEY:
		last_input_ms = k_uptime_get();
		if (evt->key < KEY_COUNT) {
			lv_obj_set_style_bg_color(tiles[evt->key],
				lv_color_hex(evt->value ? COL_TILE_DOWN : COL_TILE), 0);
		} else if (evt->value) {
			lv_label_set_text_fmt(info_label, "%s %s", keymap_key(evt->key)->icon,
					      keymap_key(evt->key)->label);
			info_until_ms = last_input_ms + INFO_SHOW_MS;
		}
		break;
	case UI_EVT_KNOB: {
		const struct pad_action *a = keymap_knob(evt->value);

		last_input_ms = k_uptime_get();
		lv_label_set_text_fmt(info_label, "%s %s", a->icon, a->label);
		info_until_ms = last_input_ms + INFO_SHOW_MS;
		break;
	}
	case UI_EVT_LINK:
		show_link((uint8_t)evt->value);
		break;
	case UI_EVT_BATTERY:
		show_battery(evt->value);
		break;
	default:
		break;
	}
}

static void ui_thread(void *p1, void *p2, void *p3)
{
	struct ui_evt evt;

	ARG_UNUSED(p1);
	ARG_UNUSED(p2);
	ARG_UNUSED(p3);

	build_ui();
	show_link(0);
	lv_timer_handler();   /* draw the first frame before the backlight comes on */
	last_input_ms = k_uptime_get();
	screen_set(true);

	while (true) {
		uint32_t wait_ms = MIN(lv_timer_handler(), 100U);

		if (k_msgq_get(&ui_q, &evt, K_MSEC(wait_ms)) == 0) {
			do {
				handle_evt(&evt);
			} while (k_msgq_get(&ui_q, &evt, K_NO_WAIT) == 0);
		}

		int64_t now = k_uptime_get();

		if (info_until_ms != 0 && now > info_until_ms) {
			lv_label_set_text(info_label, "");
			info_until_ms = 0;
		}

		if (CONFIG_MACROPAD_SCREEN_TIMEOUT_S > 0) {
			screen_set(now - last_input_ms < CONFIG_MACROPAD_SCREEN_TIMEOUT_S * 1000LL);
		}
	}
}

int display_ui_init(void)
{
	if (!device_is_ready(display_dev)) {
		LOG_ERR("Display %s is not ready", display_dev->name);
		return -ENODEV;
	}

#if HAS_BACKLIGHT
	if (!led_is_ready_dt(&backlight)) {
		LOG_WRN("Backlight is not ready, the screen may stay dark");
	}
#endif

	k_thread_create(&ui_thread_data, ui_stack, K_THREAD_STACK_SIZEOF(ui_stack), ui_thread,
			NULL, NULL, NULL, UI_PRIORITY, 0, K_NO_WAIT);
	k_thread_name_set(&ui_thread_data, "ui");
	return 0;
}
```

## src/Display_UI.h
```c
#ifndef DISPLAY_UI_H
#define DISPLAY_UI_H

#include <stdbool.h>
#include <stdint.h>

/* Starts the UI thread, which owns LVGL. Returns -ENODEV without a display. */
int display_ui_init(void);

/* Safe to call from any thread: these only queue a message for the UI thread */
void display_ui_key(uint8_t key, bool pressed);
void display_ui_knob(int dir);
void display_ui_link(bool usb, bool ble, bool advertising);
/* percent is 0-100, or DISPLAY_UI_ON_USB while USB powers the board (charging) */
#define DISPLAY_UI_ON_USB (-1)
void display_ui_battery(int percent);

#endif /* DISPLAY_UI_H */
```

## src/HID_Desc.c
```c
#include "HID_Desc.h"

#include <zephyr/usb/class/hid.h>

/* CONSTANTS */
#define HID_USAGE_PAGE_CONSUMER     0x0C
#define HID_USAGE_CONSUMER_CONTROL  0x01

const uint8_t hid_report_desc[] = {
	/* Keyboard, report ID 1: the usual 8-byte keyboard layout */
	HID_USAGE_PAGE(HID_USAGE_GEN_DESKTOP),
	HID_USAGE(HID_USAGE_GEN_DESKTOP_KEYBOARD),
	HID_COLLECTION(HID_COLLECTION_APPLICATION),
		HID_REPORT_ID(REPORT_ID_KEYBOARD),
		/* Byte 0: one bit per modifier, usages 0xE0 (left Ctrl) to 0xE7 (right GUI) */
		HID_USAGE_PAGE(HID_USAGE_GEN_KEYBOARD),
		HID_USAGE_MIN8(0xE0),
		HID_USAGE_MAX8(0xE7),
		HID_LOGICAL_MIN8(0),
		HID_LOGICAL_MAX8(1),
		HID_REPORT_SIZE(1),
		HID_REPORT_COUNT(8),
		HID_INPUT(0x02),
		/* Byte 1: reserved */
		HID_REPORT_SIZE(8),
		HID_REPORT_COUNT(1),
		HID_INPUT(0x01),
		/* Bytes 2-7: up to six key usages held at once. 0..0xE7 so F13-F24
		 * (0x68-0x73) are available to the keymap too. */
		HID_REPORT_SIZE(8),
		HID_REPORT_COUNT(6),
		HID_LOGICAL_MIN8(0),
		HID_LOGICAL_MAX16(0xE7, 0x00),
		HID_USAGE_MIN8(0),
		HID_USAGE_MAX8(0xE7),
		HID_INPUT(0x00),
	HID_END_COLLECTION,

	/* Consumer control (media keys, volume), report ID 2: one 16-bit usage */
	HID_USAGE_PAGE(HID_USAGE_PAGE_CONSUMER),
	HID_USAGE(HID_USAGE_CONSUMER_CONTROL),
	HID_COLLECTION(HID_COLLECTION_APPLICATION),
		HID_REPORT_ID(REPORT_ID_CONSUMER),
		HID_LOGICAL_MIN8(0),
		HID_LOGICAL_MAX16(0xFF, 0x03),
		HID_USAGE_MIN8(0),
		HID_USAGE_MAX16(0xFF, 0x03),
		HID_REPORT_SIZE(16),
		HID_REPORT_COUNT(1),
		HID_INPUT(0x00),
	HID_END_COLLECTION,
};

const size_t hid_report_desc_len = sizeof(hid_report_desc);
```

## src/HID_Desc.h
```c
#ifndef HID_DESC_H
#define HID_DESC_H

#include <stddef.h>
#include <stdint.h>

/* CONSTANTS */
#define REPORT_ID_KEYBOARD  0x01
#define REPORT_ID_CONSUMER  0x02
#define KEYBOARD_REPORT_LEN 8   /* modifier bits, reserved byte, 6 key codes */
#define CONSUMER_REPORT_LEN 2   /* one 16-bit consumer usage, 0 = released */

/* TYPES */
/* Our two input reports. The enum value is also the report's index in the
 * Bluetooth HIDS input report group (BT.c registers them in this order). */
enum hid_report {
	HID_REPORT_KEYBOARD = 0,
	HID_REPORT_CONSUMER = 1,
	HID_REPORT_COUNT,
};

/* One report descriptor for both transports: USB sends it in the HID class
 * descriptor, Bluetooth serves it as the HIDS Report Map. */
extern const uint8_t hid_report_desc[];
extern const size_t hid_report_desc_len;

static inline uint8_t hid_report_id(enum hid_report r)
{
	return (r == HID_REPORT_KEYBOARD) ? REPORT_ID_KEYBOARD : REPORT_ID_CONSUMER;
}

static inline uint8_t hid_report_len(enum hid_report r)
{
	return (r == HID_REPORT_KEYBOARD) ? KEYBOARD_REPORT_LEN : CONSUMER_REPORT_LEN;
}

#endif /* HID_DESC_H */
```

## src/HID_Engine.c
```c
#include "HID_Engine.h"

#include <errno.h>
#include <stdlib.h>
#include <string.h>

#include <zephyr/kernel.h>
#include <zephyr/logging/log.h>
#include <zephyr/sys/byteorder.h>
#include <zephyr/sys/util.h>

#include "BT.h"
#include "Display_UI.h"
#include "HID_Desc.h"
#include "Keymap.h"
#include "Pad_Input.h"
#include "USB_Link.h"

LOG_MODULE_REGISTER(hid_engine, LOG_LEVEL_INF);

#if defined(CONFIG_BOARD_PROMICRO_NRF52840_NRF52840_UF2)
#include <hal/nrf_power.h>
#include <zephyr/sys/reboot.h>
#endif

/* CONSTANTS */
#define KB_MODS_IDX  0
#define KB_KEYS_IDX  2
#define KB_KEYS_MAX  6

BUILD_ASSERT(KEY_TOTAL <= 32, "pressed_keys is a 32-bit mask");

/* TYPES */
static uint32_t pressed_keys;                 /* bit n set while key n is held */
static uint8_t kb_sent[KEYBOARD_REPORT_LEN];  /* last keyboard report the host got */

#if defined(CONFIG_BOARD_PROMICRO_NRF52840_NRF52840_UF2)
/* Hold the top-left key and the knob push for 3 s to restart into the board's UF2
 * bootloader (what a double-tap on reset does), so new firmware can be dragged onto
 * the USB drive without opening the case. The Adafruit bootloader checks the
 * GPREGRET register at start-up; it survives a soft reset. */
#define UF2_BOOT_MAGIC  0x57   /* DFU_MAGIC_UF2_RESET in Adafruit_nRF52_Bootloader */
#define BOOTLOADER_HOLD K_SECONDS(3)
#define BOOTLOADER_KEYS (BIT(0) | BIT(KEY_KNOB_PUSH))

static void bootloader_work_handler(struct k_work *work)
{
	ARG_UNUSED(work);
	LOG_WRN("Restarting into the UF2 bootloader");
	nrf_power_gpregret_set(NRF_POWER, 0, UF2_BOOT_MAGIC);
	sys_reboot(SYS_REBOOT_WARM);
}

static K_WORK_DELAYABLE_DEFINE(bootloader_work, bootloader_work_handler);

static void bootloader_combo_check(void)
{
	if ((pressed_keys & BOOTLOADER_KEYS) == BOOTLOADER_KEYS) {
		/* schedule, not reschedule: other keys must not restart the 3 s */
		k_work_schedule(&bootloader_work, BOOTLOADER_HOLD);
	} else {
		k_work_cancel_delayable(&bootloader_work);
	}
}
#else
static void bootloader_combo_check(void)
{
}
#endif

/* USB wins while a PC has configured it; otherwise Bluetooth if connected */
static int hid_send(enum hid_report report, const uint8_t *payload)
{
	int ret;

	if (usb_link_is_ready()) {
		ret = usb_link_send(report, payload);
	} else if (bt_hid_is_connected()) {
		ret = bt_hid_send(report, payload);
	} else {
		ret = -ENOTCONN;
	}

	if (ret != 0 && ret != -ENOTCONN && ret != -EAGAIN) {
		LOG_WRN("Report %d not sent (%d)", report, ret);
	}

	return ret;
}

/* Add one keyboard action to a report: OR in its modifiers, put its key in a free slot */
static void kb_add(uint8_t rep[KEYBOARD_REPORT_LEN], const struct pad_action *a)
{
	rep[KB_MODS_IDX] |= a->mods;

	if (a->usage == 0) {
		return;   /* modifier-only action */
	}

	for (int i = KB_KEYS_IDX; i < KB_KEYS_IDX + KB_KEYS_MAX; i++) {
		if (rep[i] == a->usage) {
			return;   /* already held by another key */
		}

		if (rep[i] == 0) {
			rep[i] = (uint8_t)a->usage;
			return;
		}
	}
	/* More than six keys held: like any keyboard, the extra ones are ignored */
}

/* The keyboard report for whatever is held right now */
static void kb_build(uint8_t rep[KEYBOARD_REPORT_LEN])
{
	memset(rep, 0, KEYBOARD_REPORT_LEN);

	for (uint8_t k = 0; k < KEY_TOTAL; k++) {
		const struct pad_action *a = keymap_key(k);

		if ((pressed_keys & BIT(k)) && a->type == ACTION_KEY) {
			kb_add(rep, a);
		}
	}
}

static void kb_send(const uint8_t rep[KEYBOARD_REPORT_LEN])
{
	(void)hid_send(HID_REPORT_KEYBOARD, rep);
	memcpy(kb_sent, rep, KEYBOARD_REPORT_LEN);
}

static void kb_sync(void)
{
	uint8_t rep[KEYBOARD_REPORT_LEN];

	kb_build(rep);
	if (memcmp(rep, kb_sent, sizeof(rep)) != 0) {
		kb_send(rep);
	}
}

static void cc_send(uint16_t usage)
{
	uint8_t rep[CONSUMER_REPORT_LEN];

	sys_put_le16(usage, rep);   /* HID values are little-endian */
	(void)hid_send(HID_REPORT_CONSUMER, rep);
}

/* Press and release in one go (knob clicks) */
static void tap(const struct pad_action *a)
{
	uint8_t rep[KEYBOARD_REPORT_LEN];

	switch (a->type) {
	case ACTION_CONSUMER:
		cc_send(a->usage);
		cc_send(0);
		break;
	case ACTION_KEY:
		kb_build(rep);
		kb_add(rep, a);
		kb_send(rep);
		kb_build(rep);
		kb_send(rep);
		break;
	default:
		break;
	}
}

static void handle_key(uint8_t key, bool pressed)
{
	const struct pad_action *a = keymap_key(key);

	if (key >= KEY_TOTAL) {
		return;
	}

	LOG_DBG("Key %u (%s) %s", key, a->label, pressed ? "down" : "up");
	WRITE_BIT(pressed_keys, key, pressed);
	display_ui_key(key, pressed);
	bootloader_combo_check();

	switch (a->type) {
	case ACTION_KEY:
		/* Held for as long as the key is held, so auto-repeat works */
		kb_sync();
		break;
	case ACTION_CONSUMER:
		cc_send(pressed ? a->usage : 0);
		break;
	default:
		break;
	}
}

static void handle_knob(int clicks)
{
	int dir = (clicks > 0) ? 1 : -1;
	const struct pad_action *a = keymap_knob(dir);

	display_ui_knob(dir);

	for (int i = 0; i < abs(clicks); i++) {
		tap(a);
	}
}

void hid_engine_link_changed(void)
{
	display_ui_link(usb_link_is_ready(), bt_hid_is_connected(), bt_hid_is_advertising());
}

void hid_engine_run(void)
{
	struct pad_event evt;

	hid_engine_link_changed();

	while (true) {
		(void)pad_event_get(&evt, K_FOREVER);

		switch (evt.type) {
		case PAD_EVT_KEY:
			handle_key(evt.key, evt.value != 0);
			break;
		case PAD_EVT_KNOB:
			if (evt.value != 0) {
				handle_knob(evt.value);
			}
			break;
		default:
			break;
		}
	}
}
```

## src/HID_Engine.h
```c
#ifndef HID_ENGINE_H
#define HID_ENGINE_H

/* Turns key and knob events into HID reports and sends them over USB when a PC
 * is plugged in, otherwise over Bluetooth. Never returns. */
void hid_engine_run(void);

/* Called by USB_Link.c and BT.c when a link comes up or goes down */
void hid_engine_link_changed(void);

#endif /* HID_ENGINE_H */
```

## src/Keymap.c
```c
#include "Keymap.h"

#include <lvgl.h>
#include <zephyr/sys/util.h>
#include <zephyr/usb/class/hid.h>

/* MACROS */
#define CTRL  HID_KBD_MODIFIER_LEFT_CTRL
#define SHIFT HID_KBD_MODIFIER_LEFT_SHIFT
#define ALT   HID_KBD_MODIFIER_LEFT_ALT
#define WIN   HID_KBD_MODIFIER_LEFT_UI

#define KEY(m, k, i, l)  { .type = ACTION_KEY, .mods = (m), .usage = (k), .icon = (i), .label = (l) }
#define MEDIA(u, i, l)   { .type = ACTION_CONSUMER, .usage = (u), .icon = (i), .label = (l) }

/* CONSTANTS */
/* Default layout for Windows, written for the largest pad (4 x 4, concept C).
 * Smaller pads use the top-left corner: B drops the last row, A also drops the
 * last column. Row 0 is the back row, nearest the screen. The config app will
 * replace this table from settings later; for now edit it here. */
static const struct pad_action layout[4][4] = {
	{
		KEY(CTRL, HID_KEY_C, LV_SYMBOL_COPY, "Copy"),
		KEY(CTRL, HID_KEY_V, LV_SYMBOL_PASTE, "Paste"),
		KEY(CTRL, HID_KEY_Z, LV_SYMBOL_LEFT, "Undo"),
		KEY(CTRL, HID_KEY_Y, LV_SYMBOL_RIGHT, "Redo"),
	},
	{
		KEY(WIN | SHIFT, HID_KEY_S, LV_SYMBOL_IMAGE, "Snip"),
		KEY(WIN, HID_KEY_D, LV_SYMBOL_HOME, "Desktop"),
		KEY(WIN, HID_KEY_TAB, LV_SYMBOL_LIST, "Tasks"),
		KEY(WIN, HID_KEY_L, LV_SYMBOL_EYE_CLOSE, "Lock"),
	},
	{
		MEDIA(CC_SCAN_PREV, LV_SYMBOL_PREV, "Prev"),
		MEDIA(CC_PLAY_PAUSE, LV_SYMBOL_PLAY, "Play"),
		MEDIA(CC_SCAN_NEXT, LV_SYMBOL_NEXT, "Next"),
		/* Windows 11: mute the mic in the call app */
		KEY(WIN | ALT, HID_KEY_K, LV_SYMBOL_AUDIO, "Mic"),
	},
	{
		MEDIA(CC_CALCULATOR, LV_SYMBOL_PLUS, "Calc"),
		KEY(WIN, HID_KEY_E, LV_SYMBOL_DIRECTORY, "Files"),
		KEY(WIN, HID_KEY_I, LV_SYMBOL_SETTINGS, "Settings"),
		KEY(WIN, HID_KEY_DOT, LV_SYMBOL_KEYBOARD, "Emoji"),
	},
};

static const struct pad_action knob_push = MEDIA(CC_MUTE, LV_SYMBOL_MUTE, "Mute");
static const struct pad_action knob_cw = MEDIA(CC_VOLUME_UP, LV_SYMBOL_VOLUME_MAX, "Vol +");
static const struct pad_action knob_ccw = MEDIA(CC_VOLUME_DOWN, LV_SYMBOL_VOLUME_MID, "Vol -");
static const struct pad_action no_action = { .type = ACTION_NONE, .icon = "", .label = "" };

BUILD_ASSERT(KEY_ROWS <= 4 && KEY_COLS <= 4, "layout[][] covers up to 4 x 4 keys");

const struct pad_action *keymap_key(uint8_t key)
{
	if (key == KEY_KNOB_PUSH) {
		return &knob_push;
	}

	if (key >= KEY_COUNT) {
		return &no_action;
	}

	return &layout[key / KEY_COLS][key % KEY_COLS];
}

const struct pad_action *keymap_knob(int dir)
{
	return (dir > 0) ? &knob_cw : &knob_ccw;
}
```

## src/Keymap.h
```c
#ifndef KEYMAP_H
#define KEYMAP_H

#include <stdint.h>

/* CONSTANTS */
#define KEY_ROWS       CONFIG_MACROPAD_KEY_ROWS
#define KEY_COLS       CONFIG_MACROPAD_KEY_COLS
#define KEY_COUNT      (KEY_ROWS * KEY_COLS)
#define KEY_KNOB_PUSH  16                 /* the knob's push switch, the same on every pad */
#define KEY_TOTAL      (KEY_KNOB_PUSH + 1)

/* Consumer page usages (HID Usage Tables, page 0x0C) */
#define CC_SCAN_NEXT   0x00B5
#define CC_SCAN_PREV   0x00B6
#define CC_PLAY_PAUSE  0x00CD
#define CC_MUTE        0x00E2
#define CC_VOLUME_UP   0x00E9
#define CC_VOLUME_DOWN 0x00EA
#define CC_CALCULATOR  0x0192

/* TYPES */
enum action_type {
	ACTION_NONE = 0,
	ACTION_KEY,        /* keyboard shortcut: modifiers + one key usage */
	ACTION_CONSUMER,   /* media / volume key */
};

struct pad_action {
	uint8_t type;       /* enum action_type */
	uint8_t mods;       /* HID_KBD_MODIFIER_* bits, ACTION_KEY only */
	uint16_t usage;     /* keyboard usage (ACTION_KEY) or consumer usage */
	const char *icon;   /* LVGL symbol shown on the tile */
	const char *label;  /* short name shown on the tile */
};

/* key: 0 .. KEY_COUNT - 1 for the MX keys (row * KEY_COLS + col), KEY_KNOB_PUSH (16) for the knob */
const struct pad_action *keymap_key(uint8_t key);

/* dir: +1 for one click clockwise, -1 for anticlockwise */
const struct pad_action *keymap_knob(int dir);

#endif /* KEYMAP_H */
```
